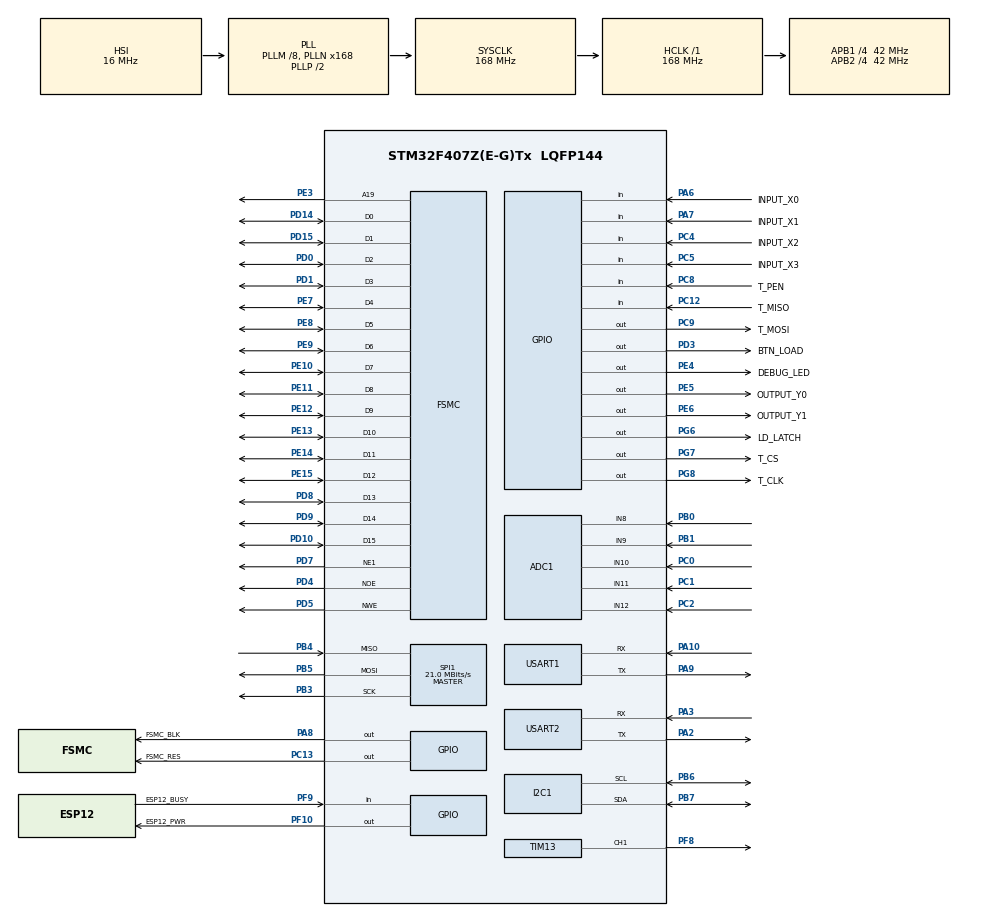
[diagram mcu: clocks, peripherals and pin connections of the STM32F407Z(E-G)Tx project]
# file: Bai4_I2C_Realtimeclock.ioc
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ADC1.Channel-0\#ChannelRegularConversion=ADC_CHANNEL_8
ADC1.Channel-1\#ChannelRegularConversion=ADC_CHANNEL_9
ADC1.Channel-2\#ChannelRegularConversion=ADC_CHANNEL_10
ADC1.Channel-3\#ChannelRegularConversion=ADC_CHANNEL_11
ADC1.Channel-4\#ChannelRegularConversion=ADC_CHANNEL_12
ADC1.NbrOfConversion=5
ADC1.NbrOfConversionFlag=1
ADC1.Rank-0\#ChannelRegularConversion=1
ADC1.Rank-1\#ChannelRegularConversion=2
ADC1.Rank-2\#ChannelRegularConversion=3
ADC1.Rank-3\#ChannelRegularConversion=4
ADC1.Rank-4\#ChannelRegularConversion=5
ADC1.SamplingTime-0\#ChannelRegularConversion=ADC_SAMPLETIME_3CYCLES
ADC1.SamplingTime-1\#ChannelRegularConversion=ADC_SAMPLETIME_3CYCLES
ADC1.SamplingTime-2\#ChannelRegularConversion=ADC_SAMPLETIME_3CYCLES
ADC1.SamplingTime-3\#ChannelRegularConversion=ADC_SAMPLETIME_3CYCLES
ADC1.SamplingTime-4\#ChannelRegularConversion=ADC_SAMPLETIME_3CYCLES
ADC1.ScanConvMode=ENABLE
ADC1.master=1
Dma.ADC1.0.Direction=DMA_PERIPH_TO_MEMORY
Dma.ADC1.0.FIFOMode=DMA_FIFOMODE_DISABLE
Dma.ADC1.0.Instance=DMA2_Stream0
Dma.ADC1.0.MemDataAlignment=DMA_MDATAALIGN_HALFWORD
Dma.ADC1.0.MemInc=DMA_MINC_ENABLE
Dma.ADC1.0.Mode=DMA_CIRCULAR
Dma.ADC1.0.PeriphDataAlignment=DMA_PDATAALIGN_HALFWORD
Dma.ADC1.0.PeriphInc=DMA_PINC_DISABLE
Dma.ADC1.0.Priority=DMA_PRIORITY_LOW
Dma.Request0=ADC1
FSMC.AddressSetupTime1=0xf
FSMC.BusTurnAroundDuration1=0
FSMC.DataSetupTime1=60
FSMC.ExtendedAddressSetupTime1=8
FSMC.ExtendedBusTurnAroundDuration1=0
FSMC.ExtendedDataSetupTime1=9
FSMC.ExtendedMode1=FSMC_EXTENDED_MODE_ENABLE
I2C1.I2C_Mode=I2C_Standard
Mcu.Family=STM32F4
Mcu.Name=STM32F407Z(E-G)Tx
Mcu.Package=LQFP144
NVIC.DMA2_Stream0_IRQn=true\:0\:0\:false\:false\:true\:false\:true\:true
NVIC.PriorityGroup=NVIC_PRIORITYGROUP_4
NVIC.TIM2_IRQn=true\:0\:0\:false\:false\:true\:true\:true\:true
NVIC.TIM8_UP_TIM13_IRQn=true\:0\:0\:false\:false\:true\:true\:true\:true
NVIC.USART1_IRQn=true\:0\:0\:false\:false\:true\:true\:true\:true
NVIC.USART2_IRQn=true\:0\:0\:false\:false\:true\:true\:true\:true
PA10.Mode=Asynchronous
PA10.Signal=USART1_RX
PA13.Mode=Serial_Wire
PA13.Signal=SYS_JTMS-SWDIO
PA14.Mode=Serial_Wire
PA14.Signal=SYS_JTCK-SWCLK
PA2.Mode=Asynchronous
PA2.Signal=USART2_TX
PA3.Mode=Asynchronous
PA3.Signal=USART2_RX
PA6.GPIO_Label=INPUT_X0
PA6.Signal=GPIO_Input
PA7.GPIO_Label=INPUT_X1
PA7.Signal=GPIO_Input
PA8.GPIO_Label=FSMC_BLK
PA8.Signal=GPIO_Output
PA9.Mode=Asynchronous
PA9.Signal=USART1_TX
PB0.Signal=ADCx_IN8
PB1.Signal=ADCx_IN9
PB3.Mode=Full_Duplex_Master
PB3.Signal=SPI1_SCK
PB4.Mode=Full_Duplex_Master
PB4.Signal=SPI1_MISO
PB5.Mode=Full_Duplex_Master
PB5.Signal=SPI1_MOSI
PB6.Mode=I2C
PB6.Signal=I2C1_SCL
PB7.Mode=I2C
PB7.Signal=I2C1_SDA
PC0.Signal=ADCx_IN10
PC1.Signal=ADCx_IN11
PC12.GPIO_Label=T_MISO
PC12.GPIO_PuPd=GPIO_PULLUP
PC12.Signal=GPIO_Input
PC13-ANTI_TAMP.GPIO_Label=FSMC_RES
PC13-ANTI_TAMP.Signal=GPIO_Output
PC2.Signal=ADCx_IN12
PC4.GPIO_Label=INPUT_X2
PC4.Signal=GPIO_Input
PC5.GPIO_Label=INPUT_X3
PC5.Signal=GPIO_Input
PC8.GPIO_Label=T_PEN
PC8.GPIO_PuPd=GPIO_PULLUP
PC8.Signal=GPIO_Input
PC9.GPIO_Label=T_MOSI
PC9.Signal=GPIO_Output
PD0.Signal=FSMC_D2_DA2
PD1.Signal=FSMC_D3_DA3
PD10.Signal=FSMC_D15_DA15
PD14.Signal=FSMC_D0_DA0
PD15.Signal=FSMC_D1_DA1
PD3.GPIO_Label=BTN_LOAD
PD3.Signal=GPIO_Output
PD4.Signal=FSMC_NOE
PD5.Signal=FSMC_NWE
PD7.Mode=NorPsramChipSelect1_1
PD7.Signal=FSMC_NE1
PD8.Signal=FSMC_D13_DA13
PD9.Signal=FSMC_D14_DA14
PE10.Signal=FSMC_D7_DA7
PE11.Signal=FSMC_D8_DA8
PE12.Signal=FSMC_D9_DA9
PE13.Signal=FSMC_D10_DA10
PE14.Signal=FSMC_D11_DA11
PE15.Signal=FSMC_D12_DA12
PE3.Signal=FSMC_A19
PE4.GPIO_Label=DEBUG_LED
PE4.Signal=GPIO_Output
PE5.GPIO_Label=OUTPUT_Y0
PE5.Signal=GPIO_Output
PE6.GPIO_Label=OUTPUT_Y1
PE6.Signal=GPIO_Output
PE7.Signal=FSMC_D4_DA4
PE8.Signal=FSMC_D5_DA5
PE9.Signal=FSMC_D6_DA6
PF10.GPIO_Label=ESP12_PWR
PF10.Signal=GPIO_Output
PF8.Signal=S_TIM13_CH1
PF9.GPIO_Label=ESP12_BUSY
PF9.Signal=GPIO_Input
PG6.GPIO_Label=LD_LATCH
PG6.Signal=GPIO_Output
PG7.GPIO_Label=T_CS
PG7.Signal=GPIO_Output
PG8.GPIO_Label=T_CLK
PG8.Signal=GPIO_Output
PH0-OSC_IN.Mode=HSE-External-Oscillator
PH0-OSC_IN.Signal=RCC_OSC_IN
PH1-OSC_OUT.Mode=HSE-External-Oscillator
PH1-OSC_OUT.Signal=RCC_OSC_OUT
ProjectManager.HeapSize=0x200
ProjectManager.StackSize=0x400
ProjectManager.TargetToolchain=STM32CubeIDE
RCC.48MHZClocksFreq_Value=84000000
RCC.AHBFreq_Value=168000000
RCC.APB1CLKDivider=RCC_HCLK_DIV4
RCC.APB1Freq_Value=42000000
RCC.APB1TimFreq_Value=84000000
RCC.APB2CLKDivider=RCC_HCLK_DIV4
RCC.APB2Freq_Value=42000000
RCC.APB2TimFreq_Value=84000000
RCC.CortexFreq_Value=168000000
RCC.HCLKFreq_Value=168000000
RCC.HSE_VALUE=8000000
RCC.HSI_VALUE=16000000
RCC.LSE_VALUE=32768
RCC.PLLM=8
RCC.PLLN=168
RCC.SYSCLKFreq_VALUE=168000000
RCC.SYSCLKSource=RCC_SYSCLKSOURCE_PLLCLK
RCC.VCOOutputFreq_Value=336000000
SH.ADCx_IN10.0=ADC1_IN10,IN10
SH.ADCx_IN11.0=ADC1_IN11,IN11
SH.ADCx_IN12.0=ADC1_IN12,IN12
SH.ADCx_IN8.0=ADC1_IN8,IN8
SH.ADCx_IN9.0=ADC1_IN9,IN9
SH.FSMC_A19.0=FSMC_A19,A19_1
SH.FSMC_D0_DA0.0=FSMC_D0,16b-d1
SH.FSMC_D10_DA10.0=FSMC_D10,16b-d1
SH.FSMC_D11_DA11.0=FSMC_D11,16b-d1
SH.FSMC_D12_DA12.0=FSMC_D12,16b-d1
SH.FSMC_D13_DA13.0=FSMC_D13,16b-d1
SH.FSMC_D14_DA14.0=FSMC_D14,16b-d1
SH.FSMC_D15_DA15.0=FSMC_D15,16b-d1
SH.FSMC_D1_DA1.0=FSMC_D1,16b-d1
SH.FSMC_D2_DA2.0=FSMC_D2,16b-d1
SH.FSMC_D3_DA3.0=FSMC_D3,16b-d1
SH.FSMC_D4_DA4.0=FSMC_D4,16b-d1
SH.FSMC_D5_DA5.0=FSMC_D5,16b-d1
SH.FSMC_D6_DA6.0=FSMC_D6,16b-d1
SH.FSMC_D7_DA7.0=FSMC_D7,16b-d1
SH.FSMC_D8_DA8.0=FSMC_D8,16b-d1
SH.FSMC_D9_DA9.0=FSMC_D9,16b-d1
SH.FSMC_NOE.0=FSMC_NOE,Lcd1
SH.FSMC_NWE.0=FSMC_NWE,Lcd1
SH.S_TIM13_CH1.0=TIM13_CH1,PWM Generation1 CH1
SPI1.BaudRatePrescaler=SPI_BAUDRATEPRESCALER_2
SPI1.CalculateBaudRate=21.0 MBits/s
SPI1.Direction=SPI_DIRECTION_2LINES
SPI1.Mode=SPI_MODE_MASTER
SPI1.VirtualType=VM_MASTER
TIM1.Prescaler=83
TIM13.Channel=TIM_CHANNEL_1
TIM13.Period=100-1
TIM13.Prescaler=840-1
TIM2.Period=100-1
TIM2.Prescaler=840-1
USART1.VirtualMode=VM_ASYNC
USART2.VirtualMode=VM_ASYNC
VP_TIM13_VS_ClockSourceINT.Mode=Enable_Timer
VP_TIM1_VS_ClockSourceINT.Mode=Internal
VP_TIM2_VS_ClockSourceINT.Mode=Internal
board=custom

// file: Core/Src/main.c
/* USER CODE BEGIN Header */
/**
  ******************************************************************************
  * @file           : main.c
  * @brief          : Main program body
  ******************************************************************************
  * @attention
  *
  * <h2><center>&copy; Copyright (c) 2023 STMicroelectronics.
  * All rights reserved.</center></h2>
  *
  * This software component is licensed by ST under BSD 3-Clause license,
  * the "License"; You may not use this file except in compliance with the
  * License. You may obtain a copy of the License at:
  *                        opensource.org/licenses/BSD-3-Clause
  *
  ******************************************************************************
  */
/* USER CODE END Header */
#include "main.h"
#include "adc.h"
#include "dma.h"
#include "i2c.h"
#include "spi.h"
#include "tim.h"
#include "usart.h"
#include "gpio.h"
#include "fsmc.h"

/* USER CODE BEGIN Includes */
#include "software_timer.h"
#include "led_7seg.h"
#include "button.h"
#include "lcd.h"
#include "picture.h"
#include "ds3231.h"
#include "fsm_mode.h"
#include "uart.h"
#include "buzzer.h"
#include "note.h"
#include "bell_picture.h"
#include "touch.h"
/* USER CODE END Includes */

/* USER CODE BEGIN PV */
uint8_t count_led_debug = 0;

#define INIT 0
#define DRAW 1
#define CLEAR 2

int draw_Status = INIT;
/* USER CODE END PV */

void SystemClock_Config(void);
/* USER CODE BEGIN PFP */
void system_init();
void test_LedDebug();
void displayTime();
void updateTime();
void test_Buzzer();
void touchProcess();
uint8_t isButtonClear();
/* USER CODE END PFP */

int main(void)
{

  /* MCU Configuration--------------------------------------------------------*/

  /* Reset of all peripherals, Initializes the Flash interface and the Systick. */
  HAL_Init();

  /* Configure the system clock */
  SystemClock_Config();

  /* Initialize all configured peripherals */
  MX_GPIO_Init();
  MX_DMA_Init();
  MX_SPI1_Init();
  MX_FSMC_Init();
  MX_I2C1_Init();
  MX_USART2_UART_Init();
  MX_TIM2_Init();
  MX_ADC1_Init();
  MX_USART1_UART_Init();
  MX_TIM13_Init();
  MX_TIM1_Init();
  /* USER CODE BEGIN 2 */
  system_init();
//  touch_Adjust();
//  lcd_Clear(BLACK);
//  play_note(note, dur, (int)sizeof(dur)/4);
  /* USER CODE END 2 */

  /* Infinite loop */
  /* USER CODE BEGIN WHILE */
  while (1)
  {
	  //scan touch screen
	  touch_Scan();
	  //check if touch screen is touched
//	  if(touch_IsTouched() && draw_Status == DRAW){
//            //draw a point at the touch position
//		  lcd_DrawPoint(touch_GetX(), touch_GetY(), RED);
//	  }
//	  // 50ms task
	  if(flag_timer2 == 1){
		  flag_timer2 = 0;
//		  touchProcess();
		  test_LedDebug();
//		  led7_SetDigit(isButtonClear(), 0, 0);
		  button_Scan();
		  fsm_machine_mode(mode);
		  test_button();
	  }

	  //displayTime();
//	  test_Buzzer();

    /* USER CODE END WHILE */

  }
}

void SystemClock_Config(void)
{
  RCC_OscInitTypeDef RCC_OscInitStruct = {0};
  RCC_ClkInitTypeDef RCC_ClkInitStruct = {0};

  /** Configure the main internal regulator output voltage
  */
  __HAL_RCC_PWR_CLK_ENABLE();
  __HAL_PWR_VOLTAGESCALING_CONFIG(PWR_REGULATOR_VOLTAGE_SCALE1);

  /** Initializes the RCC Oscillators according to the specified parameters
  * in the RCC_OscInitTypeDef structure.
  */
  RCC_OscInitStruct.OscillatorType = RCC_OSCILLATORTYPE_HSI;
  RCC_OscInitStruct.HSIState = RCC_HSI_ON;
  RCC_OscInitStruct.HSICalibrationValue = RCC_HSICALIBRATION_DEFAULT;
  RCC_OscInitStruct.PLL.PLLState = RCC_PLL_ON;
  RCC_OscInitStruct.PLL.PLLSource = RCC_PLLSOURCE_HSI;
  RCC_OscInitStruct.PLL.PLLM = 8;
  RCC_OscInitStruct.PLL.PLLN = 168;
  RCC_OscInitStruct.PLL.PLLP = RCC_PLLP_DIV2;
  RCC_OscInitStruct.PLL.PLLQ = 4;
  if (HAL_RCC_OscConfig(&RCC_OscInitStruct) != HAL_OK)
  {
    Error_Handler();
  }

  /** Initializes the CPU, AHB and APB buses clocks
  */
  RCC_ClkInitStruct.ClockType = RCC_CLOCKTYPE_HCLK|RCC_CLOCKTYPE_SYSCLK
                              |RCC_CLOCKTYPE_PCLK1|RCC_CLOCKTYPE_PCLK2;
  RCC_ClkInitStruct.SYSCLKSource = RCC_SYSCLKSOURCE_PLLCLK;
  RCC_ClkInitStruct.AHBCLKDivider = RCC_SYSCLK_DIV1;
  RCC_ClkInitStruct.APB1CLKDivider = RCC_HCLK_DIV4;
  RCC_ClkInitStruct.APB2CLKDivider = RCC_HCLK_DIV4;

  if (HAL_RCC_ClockConfig(&RCC_ClkInitStruct, FLASH_LATENCY_5) != HAL_OK)
  {
    Error_Handler();
  }
}

/* USER CODE BEGIN 4 */
void system_init(){
	  HAL_GPIO_WritePin(OUTPUT_Y0_GPIO_Port, OUTPUT_Y0_Pin, 0);
	  HAL_GPIO_WritePin(OUTPUT_Y1_GPIO_Port, OUTPUT_Y1_Pin, 0);
	  HAL_GPIO_WritePin(DEBUG_LED_GPIO_Port, DEBUG_LED_Pin, 0);
	  timer_init();
	  led7_init();
	  button_init();
	  lcd_init();
	  touch_init();
	  ds3231_init();
	  buzzer_init();
	  setTimer2(50);
	  uart_init_esp();
	  lcd_Clear(BLACK);
	  updateTime();
	  mode = NORMAL_MODE;
	  setTimer3(50);
	  setTimer4(50);
	  setTimer5(50);
	  setTimer6(50);
	  setTimerAlarm(50);
	  ds3231_ReadAlarm();
	  flag_colon = 0;
	  lcd_StrCenter(0,2,"NORMAL_MODE",WHITE,BLUE,16,1);
	  lcd_ShowPicture(20, 235, 50, 50, bell_sign);
	  lcd_ShowStr(0, 280, "Alarm OFF", WHITE, BLACK, 24, 0);
//	  lcd_Clear(BLACK);
	  alarm_state = 0;
}

void test_LedDebug(){
	count_led_debug = (count_led_debug + 1)%20;
	if(count_led_debug == 0){
		HAL_GPIO_TogglePin(DEBUG_LED_GPIO_Port, DEBUG_LED_Pin);
	}
}

void test_Buzzer(){
	if(button_count[3] == 1){
		buzzer_SetVolume(50);
	}
	if(button_count[7] == 1){
		buzzer_SetVolume(0);
	}
}

void test_7seg(){
	led7_SetDigit(0, 0, 0);
	led7_SetDigit(5, 1, 0);
	led7_SetDigit(4, 2, 0);
	led7_SetDigit(7, 3, 0);
}
void test_button(){
	for(int i = 0; i < 16; i++){
		if(button_count[i] == 1){
			led7_SetDigit(i/10, 2, 0);
			led7_SetDigit(i%10, 3, 0);
		}
	}
}

void updateTime(){
	ds3231_Write(ADDRESS_YEAR, 23);
	ds3231_Write(ADDRESS_MONTH, 10);
	ds3231_Write(ADDRESS_DATE, 20);
	ds3231_Write(ADDRESS_DAY, 6);
	ds3231_Write(ADDRESS_HOUR, 20);
	ds3231_Write(ADDRESS_MIN, 11);
	ds3231_Write(ADDRESS_SEC, 23);
}

uint8_t isButtonClear(){
	if(!touch_IsTouched()) return 0;
	return touch_GetX() > 60 && touch_GetX() < 180 && touch_GetY() > 10 && touch_GetY() < 60;
}

void touchProcess(){
	switch (draw_Status) {
		case INIT:
                // display blue button
			lcd_Fill(60, 10, 180, 60, GBLUE);
			lcd_ShowStr(90, 20, "CLEAR", RED, BLACK, 24, 1);
			draw_Status = DRAW;
			break;
		case DRAW:
			if(isButtonClear()){
				draw_Status = CLEAR;
                    // clear board
				lcd_Fill(0, 60, 240, 320, BLACK);
                    // display green button
				lcd_Fill(60, 10, 180, 60, GREEN);
				lcd_ShowStr(90, 20, "CLEAR", RED, BLACK, 24, 1);
			}
			break;
		case CLEAR:
			if(!touch_IsTouched()) draw_Status = INIT;
			break;
		default:
			break;
	}
}

//uint8_t isButtonUp()
//{
//    if (button_count[3] == 1)
//        return 1;
//    else
//        return 0;
//}
//uint8_t isButtonDown()
//{
//    if (button_count[7] == 1)
//        return 1;
//    else
//        return 0;
//}
/*void displayTime(){
	lcd_ShowIntNum(70, 100, ds3231_hours, 2, GREEN, BLACK, 24);
	lcd_ShowIntNum(110, 100, ds3231_min, 2, GREEN, BLACK, 24);
	lcd_ShowIntNum(150, 100, ds3231_sec, 2, GREEN, BLACK, 24);
	lcd_ShowIntNum(20, 130, ds3231_day, 2, YELLOW, BLACK, 24);
	lcd_ShowIntNum(70, 130, ds3231_date, 2, YELLOW, BLACK, 24);
	lcd_ShowIntNum(110, 130, ds3231_month, 2, YELLOW, BLACK, 24);
	lcd_ShowIntNum(150, 130, ds3231_year, 2, YELLOW, BLACK, 24);
}*/
/* USER CODE END 4 */

void Error_Handler(void)
{
  __disable_irq();
  while (1)
  {
  }
}
